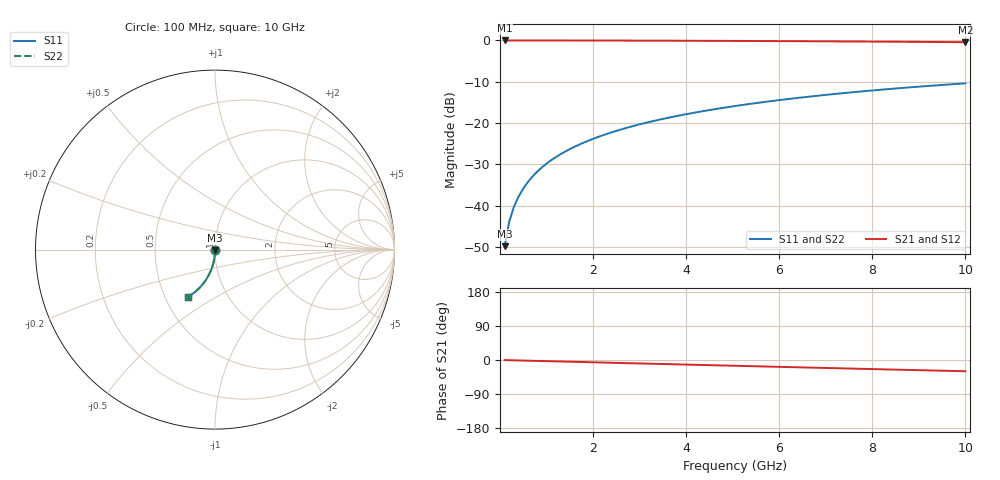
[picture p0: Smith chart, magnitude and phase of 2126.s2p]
# Hz S RI R 50.00
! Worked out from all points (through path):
!   100 points, 100 MHz to 10 GHz, reference 50 ohm
!   highest |S21| = 0.00 dB at 100 MHz (marker M1); lowest = -0.4 dB at 10 GHz (marker M2)
!   group delay of S21, straight-line fit = 8.27 ps
!   lowest |S11| = -49.8 dB at 100 MHz (marker M3), VSWR 1.01, Z = 50 - j0.323 ohm
!   |S11| at or under -10 dB: start of sweep to end of sweep
!   |S22| runs from -49.8 to -10.4 dB; largest |S21 - S12| = 0
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1e8  0.000263 -0.00323  0.9997 -0.00528  0.9997 -0.00528  0.000263 -0.00323
2e8  0.000209 -0.00645  0.9996 -0.0106  0.9996 -0.0106  0.000209 -0.00645
3e8  0.000122 -0.00968  0.9995 -0.0158  0.9995 -0.0158  0.000122 -0.00968
4e8  -4.82e-07 -0.0129  0.9994 -0.0211  0.9994 -0.0211  -4.82e-07 -0.0129
5e8  -0.000157 -0.0161  0.9992 -0.0264  0.9992 -0.0264  -0.000157 -0.0161
6e8  -0.000347 -0.0194  0.999 -0.0317  0.999 -0.0317  -0.000347 -0.0194
7e8  -0.000572 -0.0226  0.9987 -0.0369  0.9987 -0.0369  -0.000572 -0.0226
8e8  -0.000831 -0.0258  0.9984 -0.0422  0.9984 -0.0422  -0.000831 -0.0258
9e8  -0.00112 -0.029  0.9981 -0.0475  0.9981 -0.0475  -0.00112 -0.029
1.1e9  -0.00181 -0.0354  0.9973 -0.058  0.9973 -0.058  -0.00181 -0.0354
1.4e9  -0.0031 -0.045  0.9959 -0.0738  0.9959 -0.0738  -0.0031 -0.045
1.8e9  -0.00528 -0.0578  0.9934 -0.0947  0.9934 -0.0947  -0.00528 -0.0578
2.1e9  -0.00727 -0.0672  0.9912 -0.1104  0.9912 -0.1104  -0.00727 -0.0672
2.5e9  -0.0104 -0.0798  0.9877 -0.1311  0.9877 -0.1311  -0.0104 -0.0798
2.9e9  -0.014 -0.0922  0.9836 -0.1518  0.9836 -0.1518  -0.014 -0.0922
3.4e9  -0.0193 -0.1074  0.9776 -0.1773  0.9776 -0.1773  -0.0193 -0.1074
4.2e9  -0.0294 -0.131  0.9663 -0.2176  0.9663 -0.2176  -0.0294 -0.131
5.1e9  -0.0429 -0.1564  0.9509 -0.2617  0.9509 -0.2617  -0.0429 -0.1564
5.9e9  -0.0569 -0.1777  0.935 -0.2997  0.935 -0.2997  -0.0569 -0.1777
6.7e9  -0.0724 -0.1976  0.9173 -0.3364  0.9173 -0.3364  -0.0724 -0.1976
8.4e9  -0.11 -0.2348  0.8739 -0.4095  0.8739 -0.4095  -0.11 -0.2348
1e10  -0.1499 -0.2628  0.8274 -0.4717  0.8274 -0.4717  -0.1499 -0.2628
